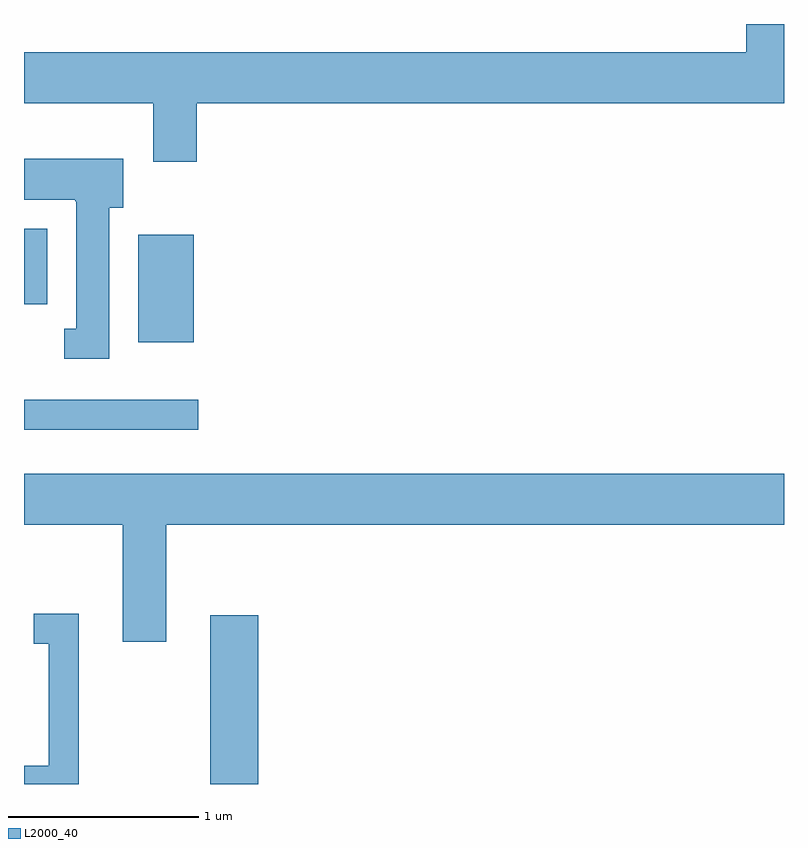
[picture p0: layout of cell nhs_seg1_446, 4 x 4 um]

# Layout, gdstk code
import gdstk
lib = gdstk.Library(unit=1e-6, precision=1e-09)
def R(c, l, rs):  # rectangles x0, y0, x1, y1
    for r in rs: c.add(gdstk.rectangle(r[:2], r[2:], *l))
def P(c, l, *ps):  # polygons
    for p in ps: c.add(gdstk.Polygon(p, *l))
L2000_40 = (2000, 40)

nhs_seg1_446 = lib.new_cell('nhs_seg1_446')
R(nhs_seg1_446, L2000_40, [(198.591,953.712,198.844,954.599), (197.611,955.576,198.528,955.734), (198.211,956.036,198.504,956.604), (197.611,956.236,197.734,956.634)])
P(nhs_seg1_446, L2000_40, [(198.519,957.296),(201.611,957.296),(201.611,957.712),(201.411,957.712),(201.411,957.564),(197.611,957.564),(197.611,957.296),(198.291,957.296),(198.291,956.986),(198.519,956.986)],
  [(198.059,956.746),(198.134,956.746),(198.134,957.004),(197.611,957.004),(197.611,956.786),(197.88,956.786),(197.88,956.78),(197.886,956.78),(197.886,956.109),(197.823,956.109),(197.823,955.951),(198.059,955.951)],
  [(198.359,955.076),(201.611,955.076),(201.611,955.344),(197.611,955.344),(197.611,955.076),(198.131,955.076),(198.131,954.461),(198.359,954.461)],
  [(197.899,954.609),(197.663,954.609),(197.663,954.451),(197.741,954.451),(197.741,953.809),(197.611,953.809),(197.611,953.712),(197.899,953.712)])

lib.write_gds('nhs_seg1_446.gds')
